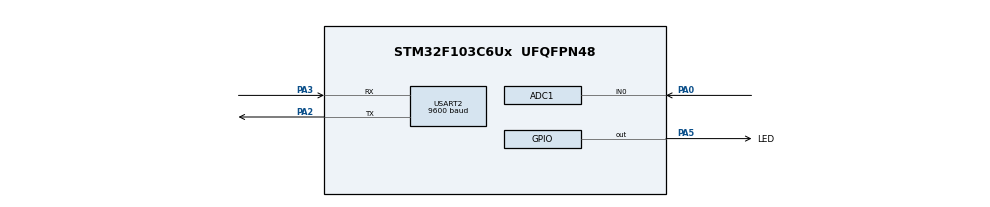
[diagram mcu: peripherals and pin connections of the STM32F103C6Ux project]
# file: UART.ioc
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ADC1.Channel-0\#ChannelRegularConversion=ADC_CHANNEL_0
ADC1.ContinuousConvMode=ENABLE
ADC1.NbrOfConversionFlag=1
ADC1.Rank-0\#ChannelRegularConversion=1
ADC1.SamplingTime-0\#ChannelRegularConversion=ADC_SAMPLETIME_1CYCLE_5
ADC1.master=1
Mcu.Family=STM32F1
Mcu.Name=STM32F103C6Ux
Mcu.Package=UFQFPN48
NVIC.PriorityGroup=NVIC_PRIORITYGROUP_4
NVIC.TIM2_IRQn=true\:0\:0\:false\:false\:true\:true\:true
NVIC.USART2_IRQn=true\:0\:0\:false\:false\:true\:true\:true
PA0-WKUP.Signal=ADCx_IN0
PA2.Mode=Asynchronous
PA2.Signal=USART2_TX
PA3.Mode=Asynchronous
PA3.Signal=USART2_RX
PA5.GPIO_Label=LED
PA5.Signal=GPIO_Output
ProjectManager.HeapSize=0x200
ProjectManager.StackSize=0x400
ProjectManager.TargetToolchain=STM32CubeIDE
RCC.APB1Freq_Value=8000000
RCC.APB2Freq_Value=8000000
SH.ADCx_IN0.0=ADC1_IN0,IN0
TIM2.Period=9
TIM2.Prescaler=7999
USART2.BaudRate=9600
USART2.VirtualMode=VM_ASYNC
VP_SYS_VS_ND.Mode=No_Debug
VP_TIM2_VS_ClockSourceINT.Mode=Internal
board=custom

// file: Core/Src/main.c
/* USER CODE BEGIN Header */
/**
  ******************************************************************************
  * @file           : main.c
  * @brief          : Main program body
  ******************************************************************************
  * @attention
  *
  * <h2><center>&copy; Copyright (c) 2023 STMicroelectronics.
  * All rights reserved.</center></h2>
  *
  * This software component is licensed by ST under BSD 3-Clause license,
  * the "License"; You may not use this file except in compliance with the
  * License. You may obtain a copy of the License at:
  *                        opensource.org/licenses/BSD-3-Clause
  *
  ******************************************************************************
  */
/* USER CODE END Header */
#include "main.h"

/* USER CODE BEGIN Includes */
#include "timer.h"
#include "command_parser.h"
#include "global.h"
#include "string.h"
#include "stdio.h"
#include "uart.h"
/* USER CODE END Includes */

ADC_HandleTypeDef hadc1;

TIM_HandleTypeDef htim2;

UART_HandleTypeDef huart2;

void SystemClock_Config(void);
static void MX_GPIO_Init(void);
static void MX_ADC1_Init(void);
static void MX_USART2_UART_Init(void);
static void MX_TIM2_Init(void);

/* USER CODE BEGIN 0 */
void HAL_UART_RxCpltCallback(UART_HandleTypeDef * huart) {
	if(huart->Instance == USART2){
		buffer[index_buffer++] = temp;
		if(index_buffer == MAX_BUFFER_SIZE) index_buffer = 0;
		buffer_flag = 1;
		HAL_UART_Transmit(&huart2, &temp, 1, 50);
		HAL_UART_Receive_IT(&huart2, &temp, 1);
	}
}
/* USER CODE END 0 */

int main(void)
{

  /* MCU Configuration--------------------------------------------------------*/

  /* Reset of all peripherals, Initializes the Flash interface and the Systick. */
  HAL_Init();

  /* Configure the system clock */
  SystemClock_Config();

  /* Initialize all configured peripherals */
  MX_GPIO_Init();
  MX_ADC1_Init();
  MX_USART2_UART_Init();
  MX_TIM2_Init();
  /* USER CODE BEGIN 2 */
  HAL_TIM_Base_Start_IT(&htim2);
  HAL_UART_Receive_IT(&huart2, &temp, 1);
  setTimer(0, 1000);
  clearTimer(1);
  /* USER CODE END 2 */

  /* Infinite loop */
  while (1)
  {
	  if (timer_flag[0] == 1) {
		  HAL_GPIO_TogglePin(LED_GPIO_Port, LED_Pin);
		  setTimer(0, 1000);
	  }
	  // If received byte, call command_parser_fsm function
	  if (buffer_flag == 1) {
		  command_parser_fsm();
		  buffer_flag = 0;
	  }
	  // uart_communiation_fsm function
	  uart_communiation_fsm(hadc1, huart2);
  }
}

void SystemClock_Config(void)
{
  RCC_OscInitTypeDef RCC_OscInitStruct = {0};
  RCC_ClkInitTypeDef RCC_ClkInitStruct = {0};
  RCC_PeriphCLKInitTypeDef PeriphClkInit = {0};

  /** Initializes the RCC Oscillators according to the specified parameters
  * in the RCC_OscInitTypeDef structure.
  */
  RCC_OscInitStruct.OscillatorType = RCC_OSCILLATORTYPE_HSI;
  RCC_OscInitStruct.HSIState = RCC_HSI_ON;
  RCC_OscInitStruct.HSICalibrationValue = RCC_HSICALIBRATION_DEFAULT;
  RCC_OscInitStruct.PLL.PLLState = RCC_PLL_NONE;
  if (HAL_RCC_OscConfig(&RCC_OscInitStruct) != HAL_OK)
  {
    Error_Handler();
  }
  /** Initializes the CPU, AHB and APB buses clocks
  */
  RCC_ClkInitStruct.ClockType = RCC_CLOCKTYPE_HCLK|RCC_CLOCKTYPE_SYSCLK
                              |RCC_CLOCKTYPE_PCLK1|RCC_CLOCKTYPE_PCLK2;
  RCC_ClkInitStruct.SYSCLKSource = RCC_SYSCLKSOURCE_HSI;
  RCC_ClkInitStruct.AHBCLKDivider = RCC_SYSCLK_DIV1;
  RCC_ClkInitStruct.APB1CLKDivider = RCC_HCLK_DIV1;
  RCC_ClkInitStruct.APB2CLKDivider = RCC_HCLK_DIV1;

  if (HAL_RCC_ClockConfig(&RCC_ClkInitStruct, FLASH_LATENCY_0) != HAL_OK)
  {
    Error_Handler();
  }
  PeriphClkInit.PeriphClockSelection = RCC_PERIPHCLK_ADC;
  PeriphClkInit.AdcClockSelection = RCC_ADCPCLK2_DIV2;
  if (HAL_RCCEx_PeriphCLKConfig(&PeriphClkInit) != HAL_OK)
  {
    Error_Handler();
  }
}

static void MX_ADC1_Init(void)
{

  ADC_ChannelConfTypeDef sConfig = {0};

  /** Common config
  */
  hadc1.Instance = ADC1;
  hadc1.Init.ScanConvMode = ADC_SCAN_DISABLE;
  hadc1.Init.ContinuousConvMode = ENABLE;
  hadc1.Init.DiscontinuousConvMode = DISABLE;
  hadc1.Init.ExternalTrigConv = ADC_SOFTWARE_START;
  hadc1.Init.DataAlign = ADC_DATAALIGN_RIGHT;
  hadc1.Init.NbrOfConversion = 1;
  if (HAL_ADC_Init(&hadc1) != HAL_OK)
  {
    Error_Handler();
  }
  /** Configure Regular Channel
  */
  sConfig.Channel = ADC_CHANNEL_0;
  sConfig.Rank = ADC_REGULAR_RANK_1;
  sConfig.SamplingTime = ADC_SAMPLETIME_1CYCLE_5;
  if (HAL_ADC_ConfigChannel(&hadc1, &sConfig) != HAL_OK)
  {
    Error_Handler();
  }

}

static void MX_TIM2_Init(void)
{

  TIM_ClockConfigTypeDef sClockSourceConfig = {0};
  TIM_MasterConfigTypeDef sMasterConfig = {0};

  htim2.Instance = TIM2;
  htim2.Init.Prescaler = 7999;
  htim2.Init.CounterMode = TIM_COUNTERMODE_UP;
  htim2.Init.Period = 9;
  htim2.Init.ClockDivision = TIM_CLOCKDIVISION_DIV1;
  htim2.Init.AutoReloadPreload = TIM_AUTORELOAD_PRELOAD_DISABLE;
  if (HAL_TIM_Base_Init(&htim2) != HAL_OK)
  {
    Error_Handler();
  }
  sClockSourceConfig.ClockSource = TIM_CLOCKSOURCE_INTERNAL;
  if (HAL_TIM_ConfigClockSource(&htim2, &sClockSourceConfig) != HAL_OK)
  {
    Error_Handler();
  }
  sMasterConfig.MasterOutputTrigger = TIM_TRGO_RESET;
  sMasterConfig.MasterSlaveMode = TIM_MASTERSLAVEMODE_DISABLE;
  if (HAL_TIMEx_MasterConfigSynchronization(&htim2, &sMasterConfig) != HAL_OK)
  {
    Error_Handler();
  }

}

static void MX_USART2_UART_Init(void)
{

  huart2.Instance = USART2;
  huart2.Init.BaudRate = 9600;
  huart2.Init.WordLength = UART_WORDLENGTH_8B;
  huart2.Init.StopBits = UART_STOPBITS_1;
  huart2.Init.Parity = UART_PARITY_NONE;
  huart2.Init.Mode = UART_MODE_TX_RX;
  huart2.Init.HwFlowCtl = UART_HWCONTROL_NONE;
  huart2.Init.OverSampling = UART_OVERSAMPLING_16;
  if (HAL_UART_Init(&huart2) != HAL_OK)
  {
    Error_Handler();
  }

}

static void MX_GPIO_Init(void)
{
  GPIO_InitTypeDef GPIO_InitStruct = {0};

  /* GPIO Ports Clock Enable */
  __HAL_RCC_GPIOA_CLK_ENABLE();

  /*Configure GPIO pin Output Level */
  HAL_GPIO_WritePin(LED_GPIO_Port, LED_Pin, GPIO_PIN_RESET);

  /*Configure GPIO pin : LED_Pin */
  GPIO_InitStruct.Pin = LED_Pin;
  GPIO_InitStruct.Mode = GPIO_MODE_OUTPUT_PP;
  GPIO_InitStruct.Pull = GPIO_NOPULL;
  GPIO_InitStruct.Speed = GPIO_SPEED_FREQ_LOW;
  HAL_GPIO_Init(LED_GPIO_Port, &GPIO_InitStruct);

}

/* USER CODE BEGIN 4 */
void HAL_TIM_PeriodElapsedCallback(TIM_HandleTypeDef *htim){
	timerRun();
}
/* USER CODE END 4 */

void Error_Handler(void)
{
  __disable_irq();
  while (1)
  {
  }
}

/************************ (C) COPYRIGHT STMicroelectronics *****END OF FILE****/
